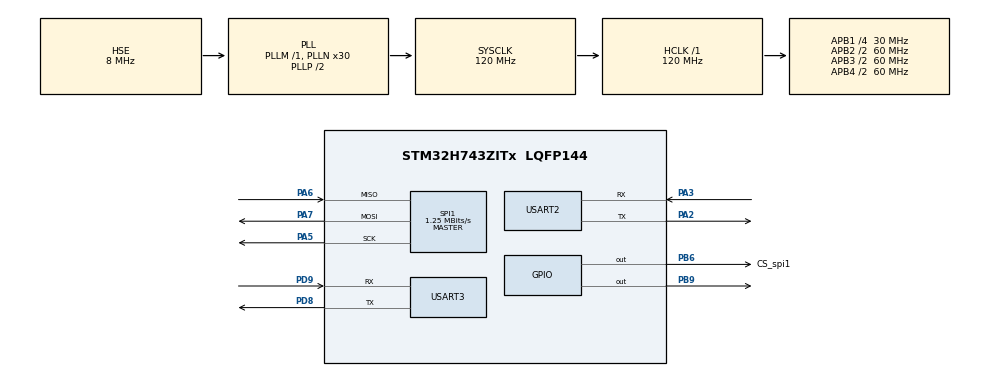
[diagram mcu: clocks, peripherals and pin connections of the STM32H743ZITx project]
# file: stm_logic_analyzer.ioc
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CORTEX_M7.default_mode_Activation=1
Mcu.Family=STM32H7
Mcu.Name=STM32H743ZITx
Mcu.Package=LQFP144
NVIC.PriorityGroup=NVIC_PRIORITYGROUP_4
NVIC.TIM2_IRQn=true\:0\:0\:false\:false\:true\:true\:true\:true
NVIC.USART2_IRQn=true\:0\:0\:false\:false\:true\:true\:true\:true
NVIC.USART3_IRQn=true\:0\:0\:false\:false\:true\:true\:true\:true
PA2.Mode=Asynchronous
PA2.Signal=USART2_TX
PA3.Mode=Asynchronous
PA3.Signal=USART2_RX
PA5.Mode=Full_Duplex_Master
PA5.Signal=SPI1_SCK
PA6.Mode=Full_Duplex_Master
PA6.Signal=SPI1_MISO
PA7.Mode=Full_Duplex_Master
PA7.Signal=SPI1_MOSI
PB6.GPIO_Label=CS_spi1
PB6.GPIO_PuPd=GPIO_NOPULL
PB6.GPIO_Speed=GPIO_SPEED_FREQ_LOW
PB6.PinState=GPIO_PIN_SET
PB6.Signal=GPIO_Output
PB9.Signal=GPIO_Output
PD8.Mode=Asynchronous
PD8.Signal=USART3_TX
PD9.Mode=Asynchronous
PD9.Signal=USART3_RX
PH0-OSC_IN\ (PH0).Mode=HSE-External-Oscillator
PH0-OSC_IN\ (PH0).Signal=RCC_OSC_IN
PH1-OSC_OUT\ (PH1).Mode=HSE-External-Oscillator
PH1-OSC_OUT\ (PH1).Signal=RCC_OSC_OUT
ProjectManager.HeapSize=0x200
ProjectManager.StackSize=0x400
ProjectManager.TargetToolchain=MDK-ARM V5.32
RCC.ADCFreq_Value=16125000
RCC.APB1Freq_Value=30000000
RCC.APB2Freq_Value=60000000
RCC.APB3Freq_Value=60000000
RCC.APB4Freq_Value=60000000
RCC.CortexFreq_Value=120000000
RCC.D1PPRE=RCC_APB3_DIV2
RCC.D2PPRE1=RCC_APB1_DIV4
RCC.D2PPRE2=RCC_APB2_DIV2
RCC.D3PPRE=RCC_APB4_DIV2
RCC.DIVM1=1
RCC.DIVN1=30
RCC.DIVQ1=3
RCC.HCLKFreq_Value=120000000
RCC.HSE_VALUE=8000000
RCC.PLL2FRACN=0
RCC.PLL3FRACN=0
RCC.PLLFRACN=0
RCC.PLLSourceVirtual=RCC_PLLSOURCE_HSE
RCC.SYSCLKFreq_VALUE=120000000
RCC.SYSCLKSource=RCC_SYSCLKSOURCE_PLLCLK
RCC.USBFreq_Value=80000000
SPI1.BaudRatePrescaler=SPI_BAUDRATEPRESCALER_64
SPI1.CalculateBaudRate=1.25 MBits/s
SPI1.DataSize=SPI_DATASIZE_8BIT
SPI1.Direction=SPI_DIRECTION_2LINES
SPI1.Mode=SPI_MODE_MASTER
SPI1.VirtualType=VM_MASTER
TIM2.AutoReloadPreload=TIM_AUTORELOAD_PRELOAD_ENABLE
TIM2.Period=4
TIM2.Prescaler=499
USART2.VirtualMode-Asynchronous=VM_ASYNC
USART3.VirtualMode-Asynchronous=VM_ASYNC
VP_TIM2_VS_ClockSourceINT.Mode=Internal
board=custom

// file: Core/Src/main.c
/* USER CODE BEGIN Header */
/**
  ******************************************************************************
  * @file           : main.c
  * @brief          : Main program body
  ******************************************************************************
  * @attention
  *
  * Copyright (c) 2026 STMicroelectronics.
  * All rights reserved.
  *
  * This software is licensed under terms that can be found in the LICENSE file
  * in the root directory of this software component.
  * If no LICENSE file comes with this software, it is provided AS-IS.
  *
  ******************************************************************************
  */
/* USER CODE END Header */
#include "main.h"

/* USER CODE BEGIN Includes */

//#include "fpga_spi.h"
#include "app_la_console.h"

/* USER CODE END Includes */

SPI_HandleTypeDef hspi1;

TIM_HandleTypeDef htim2;

UART_HandleTypeDef huart2;
UART_HandleTypeDef huart3;

void SystemClock_Config(void);
static void MPU_Config(void);
static void MX_GPIO_Init(void);
static void MX_SPI1_Init(void);
static void MX_USART3_UART_Init(void);
static void MX_TIM2_Init(void);
static void MX_USART2_UART_Init(void);

int main(void)
{

  /* MPU Configuration--------------------------------------------------------*/
  MPU_Config();

  /* MCU Configuration--------------------------------------------------------*/

  /* Reset of all peripherals, Initializes the Flash interface and the Systick. */
  HAL_Init();

  /* Configure the system clock */
  SystemClock_Config();

  /* Initialize all configured peripherals */
  MX_GPIO_Init();
  MX_SPI1_Init();
  MX_USART3_UART_Init();
  MX_TIM2_Init();
  MX_USART2_UART_Init();
  /* USER CODE BEGIN 2 */

	HAL_TIM_Base_Start_IT(&htim2);

	app_la_init(
			&hspi1,
			CS_spi1_GPIO_Port,
			CS_spi1_Pin,
			&huart3,
			&huart2
	);

	app_la_start();

  /* USER CODE END 2 */

  /* Infinite loop */
  while (1)
  {

    /* USER CODE BEGIN 3 */

		app_la_process();
	}

  /* USER CODE END 3 */
}

void SystemClock_Config(void)
{
  RCC_OscInitTypeDef RCC_OscInitStruct = {0};
  RCC_ClkInitTypeDef RCC_ClkInitStruct = {0};

  /** Supply configuration update enable
  */
  HAL_PWREx_ConfigSupply(PWR_LDO_SUPPLY);

  /** Configure the main internal regulator output voltage
  */
  __HAL_PWR_VOLTAGESCALING_CONFIG(PWR_REGULATOR_VOLTAGE_SCALE3);

  while(!__HAL_PWR_GET_FLAG(PWR_FLAG_VOSRDY)) {}

  /** Initializes the RCC Oscillators according to the specified parameters
  * in the RCC_OscInitTypeDef structure.
  */
  RCC_OscInitStruct.OscillatorType = RCC_OSCILLATORTYPE_HSE;
  RCC_OscInitStruct.HSEState = RCC_HSE_ON;
  RCC_OscInitStruct.PLL.PLLState = RCC_PLL_ON;
  RCC_OscInitStruct.PLL.PLLSource = RCC_PLLSOURCE_HSE;
  RCC_OscInitStruct.PLL.PLLM = 1;
  RCC_OscInitStruct.PLL.PLLN = 30;
  RCC_OscInitStruct.PLL.PLLP = 2;
  RCC_OscInitStruct.PLL.PLLQ = 3;
  RCC_OscInitStruct.PLL.PLLR = 2;
  RCC_OscInitStruct.PLL.PLLRGE = RCC_PLL1VCIRANGE_3;
  RCC_OscInitStruct.PLL.PLLVCOSEL = RCC_PLL1VCOWIDE;
  RCC_OscInitStruct.PLL.PLLFRACN = 0;
  if (HAL_RCC_OscConfig(&RCC_OscInitStruct) != HAL_OK)
  {
    Error_Handler();
  }

  /** Initializes the CPU, AHB and APB buses clocks
  */
  RCC_ClkInitStruct.ClockType = RCC_CLOCKTYPE_HCLK|RCC_CLOCKTYPE_SYSCLK
                              |RCC_CLOCKTYPE_PCLK1|RCC_CLOCKTYPE_PCLK2
                              |RCC_CLOCKTYPE_D3PCLK1|RCC_CLOCKTYPE_D1PCLK1;
  RCC_ClkInitStruct.SYSCLKSource = RCC_SYSCLKSOURCE_PLLCLK;
  RCC_ClkInitStruct.SYSCLKDivider = RCC_SYSCLK_DIV1;
  RCC_ClkInitStruct.AHBCLKDivider = RCC_HCLK_DIV1;
  RCC_ClkInitStruct.APB3CLKDivider = RCC_APB3_DIV2;
  RCC_ClkInitStruct.APB1CLKDivider = RCC_APB1_DIV4;
  RCC_ClkInitStruct.APB2CLKDivider = RCC_APB2_DIV2;
  RCC_ClkInitStruct.APB4CLKDivider = RCC_APB4_DIV2;

  if (HAL_RCC_ClockConfig(&RCC_ClkInitStruct, FLASH_LATENCY_2) != HAL_OK)
  {
    Error_Handler();
  }
}

static void MX_SPI1_Init(void)
{

  /* SPI1 parameter configuration*/
  hspi1.Instance = SPI1;
  hspi1.Init.Mode = SPI_MODE_MASTER;
  hspi1.Init.Direction = SPI_DIRECTION_2LINES;
  hspi1.Init.DataSize = SPI_DATASIZE_8BIT;
  hspi1.Init.CLKPolarity = SPI_POLARITY_LOW;
  hspi1.Init.CLKPhase = SPI_PHASE_1EDGE;
  hspi1.Init.NSS = SPI_NSS_SOFT;
  hspi1.Init.BaudRatePrescaler = SPI_BAUDRATEPRESCALER_256;
  hspi1.Init.FirstBit = SPI_FIRSTBIT_MSB;
  hspi1.Init.TIMode = SPI_TIMODE_DISABLE;
  hspi1.Init.CRCCalculation = SPI_CRCCALCULATION_DISABLE;
  hspi1.Init.CRCPolynomial = 0x0;
  hspi1.Init.NSSPMode = SPI_NSS_PULSE_ENABLE;
  hspi1.Init.NSSPolarity = SPI_NSS_POLARITY_LOW;
  hspi1.Init.FifoThreshold = SPI_FIFO_THRESHOLD_01DATA;
  hspi1.Init.TxCRCInitializationPattern = SPI_CRC_INITIALIZATION_ALL_ZERO_PATTERN;
  hspi1.Init.RxCRCInitializationPattern = SPI_CRC_INITIALIZATION_ALL_ZERO_PATTERN;
  hspi1.Init.MasterSSIdleness = SPI_MASTER_SS_IDLENESS_00CYCLE;
  hspi1.Init.MasterInterDataIdleness = SPI_MASTER_INTERDATA_IDLENESS_00CYCLE;
  hspi1.Init.MasterReceiverAutoSusp = SPI_MASTER_RX_AUTOSUSP_DISABLE;
  hspi1.Init.MasterKeepIOState = SPI_MASTER_KEEP_IO_STATE_DISABLE;
  hspi1.Init.IOSwap = SPI_IO_SWAP_DISABLE;
  if (HAL_SPI_Init(&hspi1) != HAL_OK)
  {
    Error_Handler();
  }

}

static void MX_TIM2_Init(void)
{

  TIM_ClockConfigTypeDef sClockSourceConfig = {0};
  TIM_MasterConfigTypeDef sMasterConfig = {0};

  htim2.Instance = TIM2;
  htim2.Init.Prescaler = 499;
  htim2.Init.CounterMode = TIM_COUNTERMODE_UP;
  htim2.Init.Period = 4;
  htim2.Init.ClockDivision = TIM_CLOCKDIVISION_DIV1;
  htim2.Init.AutoReloadPreload = TIM_AUTORELOAD_PRELOAD_ENABLE;
  if (HAL_TIM_Base_Init(&htim2) != HAL_OK)
  {
    Error_Handler();
  }
  sClockSourceConfig.ClockSource = TIM_CLOCKSOURCE_INTERNAL;
  if (HAL_TIM_ConfigClockSource(&htim2, &sClockSourceConfig) != HAL_OK)
  {
    Error_Handler();
  }
  sMasterConfig.MasterOutputTrigger = TIM_TRGO_RESET;
  sMasterConfig.MasterSlaveMode = TIM_MASTERSLAVEMODE_DISABLE;
  if (HAL_TIMEx_MasterConfigSynchronization(&htim2, &sMasterConfig) != HAL_OK)
  {
    Error_Handler();
  }

}

static void MX_USART2_UART_Init(void)
{

  huart2.Instance = USART2;
  huart2.Init.BaudRate = 115200;
  huart2.Init.WordLength = UART_WORDLENGTH_8B;
  huart2.Init.StopBits = UART_STOPBITS_1;
  huart2.Init.Parity = UART_PARITY_NONE;
  huart2.Init.Mode = UART_MODE_TX_RX;
  huart2.Init.HwFlowCtl = UART_HWCONTROL_NONE;
  huart2.Init.OverSampling = UART_OVERSAMPLING_16;
  huart2.Init.OneBitSampling = UART_ONE_BIT_SAMPLE_DISABLE;
  huart2.Init.ClockPrescaler = UART_PRESCALER_DIV1;
  huart2.AdvancedInit.AdvFeatureInit = UART_ADVFEATURE_NO_INIT;
  if (HAL_UART_Init(&huart2) != HAL_OK)
  {
    Error_Handler();
  }
  if (HAL_UARTEx_SetTxFifoThreshold(&huart2, UART_TXFIFO_THRESHOLD_1_8) != HAL_OK)
  {
    Error_Handler();
  }
  if (HAL_UARTEx_SetRxFifoThreshold(&huart2, UART_RXFIFO_THRESHOLD_1_8) != HAL_OK)
  {
    Error_Handler();
  }
  if (HAL_UARTEx_DisableFifoMode(&huart2) != HAL_OK)
  {
    Error_Handler();
  }

}

static void MX_USART3_UART_Init(void)
{

  huart3.Instance = USART3;
  huart3.Init.BaudRate = 115200;
  huart3.Init.WordLength = UART_WORDLENGTH_8B;
  huart3.Init.StopBits = UART_STOPBITS_1;
  huart3.Init.Parity = UART_PARITY_NONE;
  huart3.Init.Mode = UART_MODE_TX_RX;
  huart3.Init.HwFlowCtl = UART_HWCONTROL_NONE;
  huart3.Init.OverSampling = UART_OVERSAMPLING_16;
  huart3.Init.OneBitSampling = UART_ONE_BIT_SAMPLE_DISABLE;
  huart3.Init.ClockPrescaler = UART_PRESCALER_DIV1;
  huart3.AdvancedInit.AdvFeatureInit = UART_ADVFEATURE_NO_INIT;
  if (HAL_UART_Init(&huart3) != HAL_OK)
  {
    Error_Handler();
  }
  if (HAL_UARTEx_SetTxFifoThreshold(&huart3, UART_TXFIFO_THRESHOLD_1_8) != HAL_OK)
  {
    Error_Handler();
  }
  if (HAL_UARTEx_SetRxFifoThreshold(&huart3, UART_RXFIFO_THRESHOLD_1_8) != HAL_OK)
  {
    Error_Handler();
  }
  if (HAL_UARTEx_DisableFifoMode(&huart3) != HAL_OK)
  {
    Error_Handler();
  }

}

static void MX_GPIO_Init(void)
{
  GPIO_InitTypeDef GPIO_InitStruct = {0};

  /* GPIO Ports Clock Enable */
  __HAL_RCC_GPIOH_CLK_ENABLE();
  __HAL_RCC_GPIOA_CLK_ENABLE();
  __HAL_RCC_GPIOD_CLK_ENABLE();
  __HAL_RCC_GPIOB_CLK_ENABLE();

  /*Configure GPIO pin Output Level */
  HAL_GPIO_WritePin(CS_spi1_GPIO_Port, CS_spi1_Pin, GPIO_PIN_SET);

  /*Configure GPIO pin Output Level */
  HAL_GPIO_WritePin(GPIOB, GPIO_PIN_9, GPIO_PIN_RESET);

  /*Configure GPIO pins : CS_spi1_Pin PB9 */
  GPIO_InitStruct.Pin = CS_spi1_Pin|GPIO_PIN_9;
  GPIO_InitStruct.Mode = GPIO_MODE_OUTPUT_PP;
  GPIO_InitStruct.Pull = GPIO_NOPULL;
  GPIO_InitStruct.Speed = GPIO_SPEED_FREQ_LOW;
  HAL_GPIO_Init(GPIOB, &GPIO_InitStruct);

}

/* USER CODE BEGIN 4 */

	volatile uint32_t tim2_count = 0;
	volatile uint32_t other_count = 0;

	void HAL_TIM_PeriodElapsedCallback(TIM_HandleTypeDef *htim)
	{
			if (htim == &htim2)
			{
					tim2_count++;
					HAL_GPIO_TogglePin(GPIOB, GPIO_PIN_9);
			}
			else
			{
					other_count++;
			}
	}

	//****************************************
	//****************************************

	void HAL_UART_RxCpltCallback(UART_HandleTypeDef *huart)
	{
			app_la_uart_rx_cplt_callback(huart);
	}
	//****************************************
	//****************************************

/* USER CODE END 4 */

 /* MPU Configuration */

void MPU_Config(void)
{
  MPU_Region_InitTypeDef MPU_InitStruct = {0};

  /* Disables the MPU */
  HAL_MPU_Disable();

  /** Initializes and configures the Region and the memory to be protected
  */
  MPU_InitStruct.Enable = MPU_REGION_ENABLE;
  MPU_InitStruct.Number = MPU_REGION_NUMBER0;
  MPU_InitStruct.BaseAddress = 0x0;
  MPU_InitStruct.Size = MPU_REGION_SIZE_4GB;
  MPU_InitStruct.SubRegionDisable = 0x87;
  MPU_InitStruct.TypeExtField = MPU_TEX_LEVEL0;
  MPU_InitStruct.AccessPermission = MPU_REGION_NO_ACCESS;
  MPU_InitStruct.DisableExec = MPU_INSTRUCTION_ACCESS_DISABLE;
  MPU_InitStruct.IsShareable = MPU_ACCESS_SHAREABLE;
  MPU_InitStruct.IsCacheable = MPU_ACCESS_NOT_CACHEABLE;
  MPU_InitStruct.IsBufferable = MPU_ACCESS_NOT_BUFFERABLE;

  HAL_MPU_ConfigRegion(&MPU_InitStruct);
  /* Enables the MPU */
  HAL_MPU_Enable(MPU_PRIVILEGED_DEFAULT);

}

void Error_Handler(void)
{
  __disable_irq();
  while (1)
  {
  }
}
